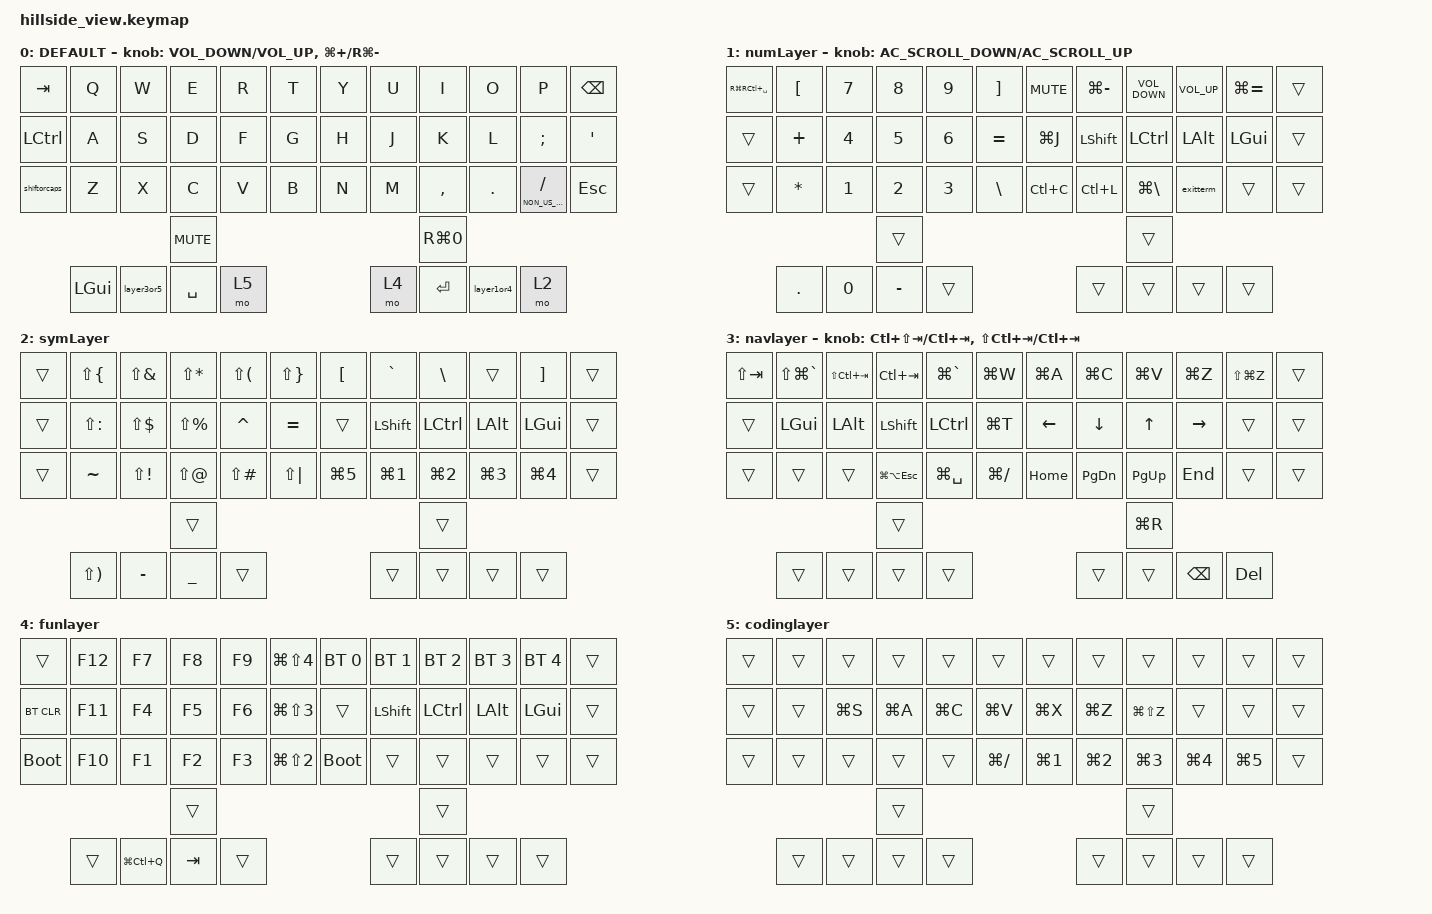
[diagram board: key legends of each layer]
#include <behaviors.dtsi>
#include <dt-bindings/zmk/bt.h>
#include <dt-bindings/zmk/keys.h>

// Left bottom row pinky 2nd column

#ifndef LB5

#define LB5 24

#endif

// Right bottom row pinky 2nd column
#ifndef RB5

#define RB5 35

#endif

#define DEF 0
#define WIN 1
#define SWP 2
#define SYM 3
#define NUM 4
#define ADJ 5
#define QUICK_TAP_MS 175

&sk {
    release-after-ms = <600>;
    quick-release;
};

/ {
    conditional_layers { compatible = "zmk,conditional-layers"; };

    combos {
        compatible = "zmk,combos";

        // symbols

        cb_excl {
            bindings = <&kp EXCL>;
            key-positions = <1 13>;
            timeout-ms = <30>;
        };

        cb_at {
            bindings = <&kp AT>;
            key-positions = <2 14>;
            timeout-ms = <30>;
        };

        cb_hash {
            bindings = <&kp HASH>;
            key-positions = <3 15>;
            timeout-ms = <30>;
        };

        cb_dllr {
            bindings = <&kp DLLR>;
            key-positions = <4 16>;
            timeout-ms = <30>;
        };

        cb_prcnt {
            bindings = <&kp PRCNT>;
            key-positions = <5 17>;
            timeout-ms = <30>;
        };

        cb_caret {
            bindings = <&kp CARET>;
            key-positions = <6 18>;
            timeout-ms = <30>;
        };

        cb_amps {
            bindings = <&kp LEFT_PARENTHESIS>;
            key-positions = <7 19>;
            timeout-ms = <30>;
        };

        cb_mult {
            bindings = <&kp RIGHT_PARENTHESIS>;
            key-positions = <8 20>;
            timeout-ms = <30>;
        };

        cb_lparen {
            bindings = <&kp ASTERISK>;
            key-positions = <9 21>;
            timeout-ms = <30>;
        };

        cb_rparen {
            bindings = <&kp AMPERSAND>;
            key-positions = <10 22>;
            timeout-ms = <30>;
        };

        play-pause {
            bindings = <&kp C_PLAY_PAUSE>;
            key-positions = <19 20>;
        };

        print-save {
            bindings = <&kp LG(LS(NUMBER_4))>;
            key-positions = <15 16>;
        };

        copy {
            bindings = <&kp LG(C)>;
            key-positions = <16 17>;
        };

        paste {
            bindings = <&kp LG(V)>;
            key-positions = <28 29>;
        };

        tab {
            bindings = <&kp TAB>;
            key-positions = <13 14>;
        };
    };

    behaviors {
        holdtolayer: holdtolayer {
            compatible = "zmk,behavior-hold-tap";
            label = "HOLDTOLAYER";
            bindings = <&mo>, <&kp>;

            #binding-cells = <2>;
            tapping-term-ms = <1000>;
        };

        holdortap: holdortap {
            compatible = "zmk,behavior-hold-tap";
            label = "HOLDORTAP";
            bindings = <&kp>, <&kp>;

            #binding-cells = <2>;
            tapping-term-ms = <1000>;
        };

        shiftorcaps: shiftorcaps {
            compatible = "zmk,behavior-tap-dance";
            label = "SHIFTORCAPS";
            #binding-cells = <0>;
            bindings = <&kp LEFT_SHIFT>, <&kp CAPS>;

            tapping-term-ms = <500>;
        };

        layer1or4: layer1or4 {
            compatible = "zmk,behavior-tap-dance";
            label = "LAYER1OR4";
            #binding-cells = <0>;
            bindings = <&mo 1>, <&mo 4>;

            tapping-term-ms = <500>;
        };

        layer3or5: layer3or5 {
            compatible = "zmk,behavior-tap-dance";
            label = "LAYER3OR5";
            #binding-cells = <0>;
            bindings = <&mo 3>, <&mo 5>;

            tapping-term-ms = <500>;
        };
    };

    macros {
        exitterm: exitterm {
            compatible = "zmk,behavior-macro";
            #binding-cells = <0>;
            bindings = <&kp E &kp X &kp I &kp T &kp ENTER>;
            label = "EXITTERM";
        };
    };

    keymap {
        compatible = "zmk,keymap";

        default_layer {
            label = "DEFAULT";
            bindings = <
&kp TAB           &kp Q     &kp W       &kp E       &kp R  &kp T      &kp Y  &kp U  &kp I       &kp O       &kp P                              &kp BSPC
&kp LEFT_CONTROL  &kp A     &kp S       &kp D       &kp F  &kp G      &kp H  &kp J  &kp K       &kp L       &kp SEMI                           &kp SQT
&shiftorcaps      &kp Z     &kp X       &kp C       &kp V  &kp B      &kp N  &kp M  &kp COMMA   &kp DOT     &holdortap NON_US_BACKSLASH SLASH  &kp ESC
                                        &kp C_MUTE                                  &kp RG(N0)
                  &kp LGUI  &layer3or5  &kp SPACE   &mo 5                    &mo 4  &kp RET     &layer1or4  &mo 2
            >;

            sensor-bindings =
                <&inc_dec_kp C_VOLUME_DOWN C_VOL_UP>,
                <&inc_dec_kp LG(PLUS) RG(MINUS)>;
        };

        numLayer {
            bindings = <
&kp RG(RC(SPACE))  &kp LBKT    &kp N7        &kp N8     &kp N9  &kp RBKT       &kp K_MUTE  &kp LG(MINUS)  &kp C_VOLUME_DOWN  &kp C_VOLUME_UP  &kp LG(EQUAL)  &trans
&trans             &kp PLUS    &kp N4        &kp N5     &kp N6  &kp EQUAL      &kp LG(J)   &kp LSHFT      &kp LCTRL          &kp LALT         &kp LGUI       &trans
&trans             &kp ASTRK   &kp NUMBER_1  &kp N2     &kp N3  &kp BSLH       &kp LC(C)   &kp LC(L)      &kp LG(BSLH)       &exitterm        &trans         &trans
                                             &trans                                                       &trans
                   &kp PERIOD  &kp N0        &kp MINUS  &trans                             &trans         &trans             &trans           &trans
            >;

            sensor-bindings = <&inc_dec_kp C_AC_SCROLL_DOWN C_AC_SCROLL_UP>;
        };

        symLayer {
            bindings = <
&trans  &kp LS(LBRC)   &kp LS(AMPS)  &kp LS(STAR)    &kp LS(LPAR)   &kp LS(RBRC)      &kp LBKT    &kp GRAVE   &kp BSLH    &trans      &kp RBKT    &trans
&trans  &kp LS(COLON)  &kp LS(DLLR)  &kp LS(PRCNT)   &kp CARET      &kp EQUAL         &trans      &kp LSHFT   &kp LCTRL   &kp LALT    &kp LGUI    &trans
&trans  &kp TILDE      &kp LS(EXCL)  &kp LS(AT)      &kp LS(POUND)  &kp LS(PIPE)      &kp LG(N5)  &kp LG(N1)  &kp LG(N2)  &kp LG(N3)  &kp LG(N4)  &trans
                                     &trans                                                                   &trans
        &kp LS(RPAR)   &kp MINUS     &kp UNDERSCORE  &trans                                       &trans      &trans      &trans      &trans
            >;
        };

        navlayer {
            bindings = <
&kp LS(TAB)  &kp LS(LG(GRAVE))  &kp LS(LC(TAB))  &kp LC(TAB)         &kp LG(GRAVE)  &kp LG(W)          &kp LG(A)  &kp LG(C)  &kp LG(V)  &kp LG(Z)  &kp LS(LG(Z))  &trans
&trans       &kp LGUI           &kp LALT         &kp LSHFT           &kp LCTRL      &kp LG(T)          &kp LEFT   &kp DOWN   &kp UP     &kp RIGHT  &trans         &trans
&trans       &trans             &trans           &kp LG(LA(ESCAPE))  &kp LG(SPACE)  &kp LG(SLASH)      &kp HOME   &kp PG_DN  &kp PG_UP  &kp END    &trans         &trans
                                                 &trans                                                                      &kp LG(R)
             &trans             &trans           &trans              &trans                                       &trans     &trans     &kp BSPC   &kp DEL
            >;

            sensor-bindings =
                <&inc_dec_kp LC(LS(TAB)) LC(TAB)>,
                <&inc_dec_kp LS(LC(TAB)) LC(TAB)>;
        };

        funlayer {
            bindings = <
&trans       &kp F12  &kp F7         &kp F8   &kp F9  &kp LG(LS(NUMBER_4))      &bt BT_SEL 0  &bt BT_SEL 1  &bt BT_SEL 2  &bt BT_SEL 3  &bt BT_SEL 4  &trans
&bt BT_CLR   &kp F11  &kp F4         &kp F5   &kp F6  &kp LG(LS(NUMBER_3))      &trans        &kp LSHFT     &kp LCTRL     &kp LALT      &kp LGUI      &trans
&bootloader  &kp F10  &kp F1         &kp F2   &kp F3  &kp LG(LS(NUMBER_2))      &bootloader   &trans        &trans        &trans        &trans        &trans
                                     &trans                                                                 &trans
             &trans   &kp LG(LC(Q))  &kp TAB  &trans                                          &trans        &trans        &trans        &trans
            >;
        };

        codinglayer {
            bindings = <
&trans  &trans  &trans     &trans     &trans     &trans             &trans            &trans            &trans            &trans            &trans      &trans
&trans  &trans  &kp LG(S)  &kp LG(A)  &kp LG(C)  &kp LG(V)          &kp LG(X)         &kp LG(Z)         &kp LG(LS(Z))     &trans            &trans      &trans
&trans  &trans  &trans     &trans     &trans     &kp LG(SLASH)      &kp LG(NUMBER_1)  &kp LG(NUMBER_2)  &kp LG(NUMBER_3)  &kp LG(NUMBER_4)  &kp LG(N5)  &trans
                           &trans                                                                       &trans
        &trans  &trans     &trans     &trans                                          &trans            &trans            &trans            &trans
            >;
        };
    };
};
